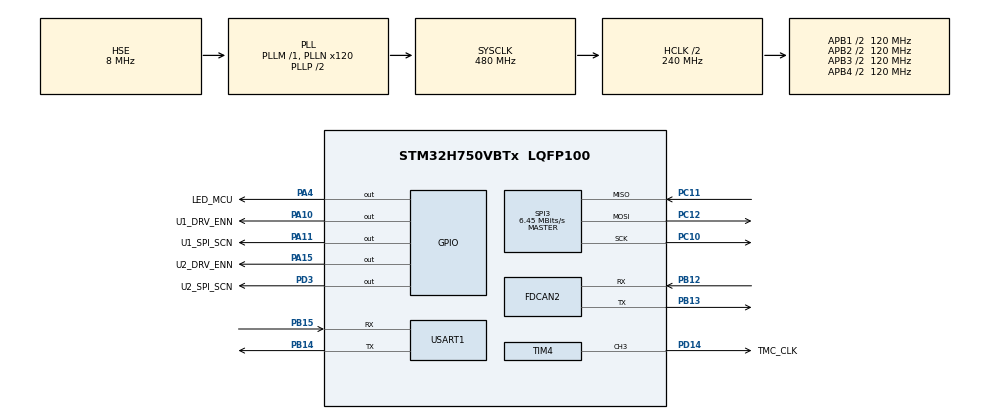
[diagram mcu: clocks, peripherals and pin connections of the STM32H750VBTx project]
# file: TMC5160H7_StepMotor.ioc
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CORTEX_M7.default_mode_Activation=1
FDCAN2.AutoRetransmission=ENABLE
FDCAN2.CalculateBaudRateNominal=500000
FDCAN2.CalculateTimeBitNominal=2000
FDCAN2.CalculateTimeQuantumNominal=125.0
FDCAN2.NominalPrescaler=1
FDCAN2.NominalTimeSeg1=13
FDCAN2.NominalTimeSeg2=2
Mcu.Family=STM32H7
Mcu.Name=STM32H750VBTx
Mcu.Package=LQFP100
NVIC.PriorityGroup=NVIC_PRIORITYGROUP_4
PA10.GPIO_Label=U1_DRV_ENN
PA10.GPIO_Speed=GPIO_SPEED_FREQ_VERY_HIGH
PA10.PinState=GPIO_PIN_SET
PA10.Signal=GPIO_Output
PA11.GPIO_Label=U1_SPI_SCN
PA11.GPIO_Speed=GPIO_SPEED_FREQ_VERY_HIGH
PA11.PinState=GPIO_PIN_SET
PA11.Signal=GPIO_Output
PA13\ (JTMS/SWDIO).Mode=Serial_Wire
PA13\ (JTMS/SWDIO).Signal=DEBUG_JTMS-SWDIO
PA14\ (JTCK/SWCLK).Mode=Serial_Wire
PA14\ (JTCK/SWCLK).Signal=DEBUG_JTCK-SWCLK
PA15\ (JTDI).GPIO_Label=U2_DRV_ENN
PA15\ (JTDI).GPIO_Speed=GPIO_SPEED_FREQ_VERY_HIGH
PA15\ (JTDI).PinState=GPIO_PIN_SET
PA15\ (JTDI).Signal=GPIO_Output
PA4.GPIO_Label=LED_MCU
PA4.PinState=GPIO_PIN_SET
PA4.Signal=GPIO_Output
PB12.Mode=FDCAN_Activate
PB12.Signal=FDCAN2_RX
PB13.Mode=FDCAN_Activate
PB13.Signal=FDCAN2_TX
PB14.Mode=Asynchronous
PB14.Signal=USART1_TX
PB15.Mode=Asynchronous
PB15.Signal=USART1_RX
PC10.GPIO_Speed=GPIO_SPEED_FREQ_VERY_HIGH
PC10.Mode=Full_Duplex_Master
PC10.Signal=SPI3_SCK
PC11.GPIO_Speed=GPIO_SPEED_FREQ_VERY_HIGH
PC11.Mode=Full_Duplex_Master
PC11.Signal=SPI3_MISO
PC12.GPIO_Speed=GPIO_SPEED_FREQ_VERY_HIGH
PC12.Mode=Full_Duplex_Master
PC12.Signal=SPI3_MOSI
PD14.GPIO_Label=TMC_CLK
PD14.GPIO_Speed=GPIO_SPEED_FREQ_VERY_HIGH
PD14.Signal=S_TIM4_CH3
PD3.GPIO_Label=U2_SPI_SCN
PD3.GPIO_Speed=GPIO_SPEED_FREQ_VERY_HIGH
PD3.PinState=GPIO_PIN_SET
PD3.Signal=GPIO_Output
PH0-OSC_IN\ (PH0).Mode=HSE-External-Oscillator
PH0-OSC_IN\ (PH0).Signal=RCC_OSC_IN
PH1-OSC_OUT\ (PH1).Mode=HSE-External-Oscillator
PH1-OSC_OUT\ (PH1).Signal=RCC_OSC_OUT
ProjectManager.HeapSize=0x200
ProjectManager.StackSize=0x400
ProjectManager.TargetToolchain=CMake
RCC.ADCFreq_Value=16125000
RCC.APB1Freq_Value=120000000
RCC.APB2Freq_Value=120000000
RCC.APB3Freq_Value=120000000
RCC.APB4Freq_Value=120000000
RCC.CortexFreq_Value=480000000
RCC.D1PPRE=RCC_APB3_DIV2
RCC.D2PPRE1=RCC_APB1_DIV2
RCC.D2PPRE2=RCC_APB2_DIV2
RCC.D3PPRE=RCC_APB4_DIV2
RCC.DIVM1=1
RCC.DIVM3=5
RCC.DIVN1=120
RCC.FDCANCLockSelection=RCC_FDCANCLKSOURCE_HSE
RCC.HCLKFreq_Value=240000000
RCC.HPRE=RCC_HCLK_DIV2
RCC.HSE_VALUE=8000000
RCC.PLL2FRACN=0
RCC.PLL3FRACN=0
RCC.PLLFRACN=0
RCC.PLLSourceVirtual=RCC_PLLSOURCE_HSE
RCC.PWR_Regulator_Voltage_Scale=PWR_REGULATOR_VOLTAGE_SCALE0
RCC.SPI123CLockSelection=RCC_SPI123CLKSOURCE_PLL3
RCC.SYSCLKFreq_VALUE=480000000
RCC.SYSCLKSource=RCC_SYSCLKSOURCE_PLLCLK
RCC.USART16CLockSelection=RCC_USART16CLKSOURCE_HSI
RCC.USBFreq_Value=480000000
SH.S_TIM4_CH3.0=TIM4_CH3,PWM Generation3 CH3
SPI3.BaudRatePrescaler=SPI_BAUDRATEPRESCALER_16
SPI3.CLKPhase=SPI_PHASE_2EDGE
SPI3.CLKPolarity=SPI_POLARITY_HIGH
SPI3.CalculateBaudRate=6.45 MBits/s
SPI3.DataSize=SPI_DATASIZE_8BIT
SPI3.Direction=SPI_DIRECTION_2LINES
SPI3.Mode=SPI_MODE_MASTER
SPI3.VirtualType=VM_MASTER
TIM4.Channel-PWM\ Generation3\ CH3=TIM_CHANNEL_3
TIM4.Period=15
TIM4.Prescaler=0
TIM4.Pulse-PWM\ Generation3\ CH3=8
USART1.VirtualMode-Asynchronous=VM_ASYNC
VP_MEMORYMAP_VS_MEMORYMAP.Mode=CurAppReg
VP_TIM4_VS_ClockSourceINT.Mode=Internal
board=custom

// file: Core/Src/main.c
/* USER CODE BEGIN Header */
/**
  ******************************************************************************
  * @file           : main.c
  * @brief          : Main program body
  ******************************************************************************
  * @attention
  *
  * Copyright (c) 2026 STMicroelectronics.
  * All rights reserved.
  *
  * This software is licensed under terms that can be found in the LICENSE file
  * in the root directory of this software component.
  * If no LICENSE file comes with this software, it is provided AS-IS.
  *
  ******************************************************************************
  */
/* USER CODE END Header */
#include "main.h"
#include "fdcan.h"
#include "spi.h"
#include "tim.h"
#include "usart.h"
#include "gpio.h"

/* USER CODE BEGIN Includes */
#include "algo/queue.h"
#include "drv/can.h"
#include "drv/uart_dbg.h"
#include "drv/rtt_dbg.h"
#include "drv/tmc5160.h"
#include "app/motor_ctrl.h"
#include "app/closed_loop.h"
#include "app/homing.h"
#include "comm_test.h"
#include "tim_test.h"
/* USER CODE END Includes */

/* USER CODE BEGIN PV */
/* 闭环节拍标志：预留（目标板无 TIM7，闭环 Tick 暂未启用，与源工程行为等价） */
volatile uint8_t g_cl_tick_flag = 0;
/* USER CODE END PV */

void SystemClock_Config(void);
void PeriphCommonClock_Config(void);
static void MPU_Config(void);

int main(void)
{

  /* MPU Configuration--------------------------------------------------------*/
  MPU_Config();

  /* MCU Configuration--------------------------------------------------------*/

  /* Reset of all peripherals, Initializes the Flash interface and the Systick. */
  HAL_Init();

  /* Configure the system clock */
  SystemClock_Config();

  /* Configure the peripherals common clocks */
  PeriphCommonClock_Config();

  /* Initialize all configured peripherals */
  MX_GPIO_Init();
  MX_FDCAN2_Init();
  MX_SPI3_Init();
  MX_TIM4_Init();
  MX_USART1_UART_Init();
  /* USER CODE BEGIN 2 */
  /* TMC5160 外部时钟: TIM4_CH3 PWM 输出 15MHz (TIM4CLK=240MHz/(PSC=0)/(ARR=15+1))
   * 必须在 TMC5160_Init 前启动，否则芯片无 fCLK 不工作 */
  HAL_TIM_PWM_Start(&htim4, TIM_CHANNEL_3);

  QUEUE_Init(&g_queue_st);
  CAN_Init();
  TMC5160_Init();
  MOTOR_Init();
  CLOSEDLOOP_Init();
  UART_DBG_Init();
  RTT_DBG_Init(); /* RTT 初始化（J-Link RTT Viewer 调试回传） */
  UART_DBG_Str("UART ready 115200\r\n");
  RTT_DBG_Str("RTT ready\r\n");
  UART_DBG_Str("[BOOT] TMC5160H7 StepMotor\r\n");
  RTT_DBG_Str("[BOOT] TMC5160H7 StepMotor\r\n");
#ifdef CL_TIMING_MEASURE
  TEST_TIM_Init();
  TEST_SPI_SaleaeTriggerInit();
  UART_DBG_Str("[SALEAE] 3-wire SCK PC10 MOSI PC12 MISO PC11 TRIG PA4\r\n");
#endif

  /* == 测试函数 == */
  /* 上电 SPI 自检：双芯 GSTAT/DRVSTATUS 回读，串口+RTT 双通道输出判据 */
  // COMM_Test_SPI();
#if SPI_SOAK
  /* SPI 位保真浸泡诊断（2026-09-10 电机排查轮，实现见 test/comm_test.c；
   * 含 U2 速度模式运转 10s，结束自动停并恢复 ENC_CONST；生产版置 0） */
  COMM_Test_SPI_Soak();
#endif
#if SPI_QUIET
  /* 静音模式(StealthChop)电机运行测试（2026-09-10 用户定案，实现见
   * test/comm_test.c；判据=转+无故障，S2 保持开启；结束恢复 GCONF=0x00） */
  COMM_Test_SPI_Quiet();
#endif
#if SPI_MANUAL
  /* 手册(ch22/ch23)基线配置+一整圈定位运转（2026-09-10 用户定案，实现见
   * test/comm_test.c；判据=|enc|≥25600 且 S2/drv_err 全 0；VS=24V+VSA=12V 实况） */
  COMM_Test_ManualRun();
#endif
#if SPI_PRODRUN
  /* 生产配置 SpreadCycle 整圈运行验证（2026-09-12 用户定案，实现见
   * test/comm_test.c；判据=到位且全程无错误标志+enc跟随；生产版置 0） */
  COMM_Test_ProdRun();
#endif
#if SPI_PRODRUN_U1
  /* U1 生产配置 SpreadCycle 整圈运行验证（2026-09-14 新增，
   * 实现见 test/comm_test.c COMM_Test_ProdRun_U1()；
   * 判据对标 PRODRUN；生产版置 0） */
  COMM_Test_ProdRun_U1();
#endif

  /* USER CODE END 2 */

  /* Infinite loop */
  /* USER CODE BEGIN WHILE */
  while (1)
  {
    /* [TM] tag2=主循环单圈(抽稀500:1,避RTT回传反压) / tag5=1Hz心跳SPI诊断块
     * 依据 probe.md DWT序列 + memory stm32_dwt_cyccnt_clk=480MHz(CPU=SYSCLK,实测481MHz 2026-09-17)
     * 回传经 printf->_write->RTT Ch0(09-18切RTT,串口不可用),生产版空宏零开销 */
#ifdef CL_TIMING_MEASURE
    static uint32_t s_tm2_cnt = 0;
    ++s_tm2_cnt;
    if ((s_tm2_cnt % 500U) == 0U)
    {
        TEST_TIM_Start(2); /* 抽稀: 每500圈测一圈, Start/Stop配对 */
    }
#else
    TEST_TIM_Start(2); /* 生产版空宏 */
#endif
#ifdef CL_TIMING_MEASURE
    /* 3-wire Saleae 连续触发: 每 10ms 一次 U2 GSTAT 读, PA4 窄脉冲作同步 */
    {
        static uint32_t s_saleae_last = 0;
        if ((HAL_GetTick() - s_saleae_last) >= 10)
        {
            s_saleae_last = HAL_GetTick();
            TEST_SPI_SaleaePulse();
            (void)TMC5160_SpiRead(TMC5160_CHIP_2, 0x01); /* GSTAT */
        }
    }
#endif
    CAN_Process();
    HOME_Tick();
    COMM_Test_CAN_Heartbeat();
    /* 双通道心跳遥测：1Hz 打印双电机实际/编码器位置 (USART1 115200 + RTT) */
    {
      static uint32_t s_rtt_last_tick = 0;
      uint32_t now = HAL_GetTick();
      if ((now - s_rtt_last_tick) >= 1000)
      {
        s_rtt_last_tick = now;
        TEST_TIM_Start(5); /* tag5=1Hz心跳SPI诊断块(含4次读事务) */
        /* U2 追加运动诊断量: v=VACTUAL(0x22) rs=RAMP_STAT cs=CS_ACTUAL[9:0]
         * ds=DRVSTATUS(OL/OT/S2 位) gs=GSTAT —— 遥测先行定位抖动 (retrieval.md) */
        {
          TMC5160_CHIP_T *u2 = MOTOR_GetChip(MOTOR_CTRL_U2);
          uint32_t ds = TMC5160_GetDrvStatus(u2);
          UART_DBG_Printf("[t=%u] U1 act=%d enc=%d | U2 act=%d enc=%d "
                          "v=%d rs=%lX cs=%lu ds=%08lX gs=%02X\r\n",
                          (unsigned)now,
                          (int)MOTOR_GetPosition(MOTOR_CTRL_U1),
                          (int)MOTOR_GetEncoderPosition(MOTOR_CTRL_U1),
                          (int)MOTOR_GetPosition(MOTOR_CTRL_U2),
                          (int)MOTOR_GetEncoderPosition(MOTOR_CTRL_U2),
                          (int)TMC5160_GetVelocity(u2),
                          (unsigned long)TMC5160_GetRampStat(u2),
                          (unsigned long)(ds & 0x3FFUL),
                          (unsigned long)ds,
                          (unsigned int)TMC5160_GetGStat(u2));
        }
        RTT_DBG_Printf("[t=%u] U1 act=%d enc=%d | U2 act=%d enc=%d\r\n",
                       (unsigned)now,
                       (int)MOTOR_GetPosition(MOTOR_CTRL_U1),
                       (int)MOTOR_GetEncoderPosition(MOTOR_CTRL_U1),
                       (int)MOTOR_GetPosition(MOTOR_CTRL_U2),
                       (int)MOTOR_GetEncoderPosition(MOTOR_CTRL_U2));
        TEST_TIM_Stop(5);
      }
    }

    /* 闭环控制：目标板无 TIM7 节拍定时器，保持注释态（与源工程行为等价） */
    // if (g_cl_tick_flag)
    // {
    //   g_cl_tick_flag = 0;
    //   CLOSEDLOOP_Tick(MOTOR_CTRL_U1);
    //   CLOSEDLOOP_Tick(MOTOR_CTRL_U2);
    // }

#ifdef CL_TIMING_MEASURE
    if ((s_tm2_cnt % 500U) == 0U)
    {
        TEST_TIM_Stop(2); /* 与顶部Start配对, 1次/500圈 */
    }
#else
    TEST_TIM_Stop(2); /* 生产版空宏 */
#endif
    /* USER CODE END WHILE */

  }
}

void SystemClock_Config(void)
{
  RCC_OscInitTypeDef RCC_OscInitStruct = {0};
  RCC_ClkInitTypeDef RCC_ClkInitStruct = {0};

  /** Supply configuration update enable
  */
  HAL_PWREx_ConfigSupply(PWR_LDO_SUPPLY);

  /** Configure the main internal regulator output voltage
  */
  __HAL_PWR_VOLTAGESCALING_CONFIG(PWR_REGULATOR_VOLTAGE_SCALE0);

  while(!__HAL_PWR_GET_FLAG(PWR_FLAG_VOSRDY)) {}

  /** Initializes the RCC Oscillators according to the specified parameters
  * in the RCC_OscInitTypeDef structure.
  */
  RCC_OscInitStruct.OscillatorType = RCC_OSCILLATORTYPE_HSI|RCC_OSCILLATORTYPE_HSE;
  RCC_OscInitStruct.HSEState = RCC_HSE_ON;
  RCC_OscInitStruct.HSIState = RCC_HSI_DIV1;
  RCC_OscInitStruct.HSICalibrationValue = RCC_HSICALIBRATION_DEFAULT;
  RCC_OscInitStruct.PLL.PLLState = RCC_PLL_ON;
  RCC_OscInitStruct.PLL.PLLSource = RCC_PLLSOURCE_HSE;
  RCC_OscInitStruct.PLL.PLLM = 1;
  RCC_OscInitStruct.PLL.PLLN = 120;
  RCC_OscInitStruct.PLL.PLLP = 2;
  RCC_OscInitStruct.PLL.PLLQ = 2;
  RCC_OscInitStruct.PLL.PLLR = 2;
  RCC_OscInitStruct.PLL.PLLRGE = RCC_PLL1VCIRANGE_3;
  RCC_OscInitStruct.PLL.PLLVCOSEL = RCC_PLL1VCOWIDE;
  RCC_OscInitStruct.PLL.PLLFRACN = 0;
  if (HAL_RCC_OscConfig(&RCC_OscInitStruct) != HAL_OK)
  {
    Error_Handler();
  }

  /** Initializes the CPU, AHB and APB buses clocks
  */
  RCC_ClkInitStruct.ClockType = RCC_CLOCKTYPE_HCLK|RCC_CLOCKTYPE_SYSCLK
                              |RCC_CLOCKTYPE_PCLK1|RCC_CLOCKTYPE_PCLK2
                              |RCC_CLOCKTYPE_D3PCLK1|RCC_CLOCKTYPE_D1PCLK1;
  RCC_ClkInitStruct.SYSCLKSource = RCC_SYSCLKSOURCE_PLLCLK;
  RCC_ClkInitStruct.SYSCLKDivider = RCC_SYSCLK_DIV1;
  RCC_ClkInitStruct.AHBCLKDivider = RCC_HCLK_DIV2;
  RCC_ClkInitStruct.APB3CLKDivider = RCC_APB3_DIV2;
  RCC_ClkInitStruct.APB1CLKDivider = RCC_APB1_DIV2;
  RCC_ClkInitStruct.APB2CLKDivider = RCC_APB2_DIV2;
  RCC_ClkInitStruct.APB4CLKDivider = RCC_APB4_DIV2;

  if (HAL_RCC_ClockConfig(&RCC_ClkInitStruct, FLASH_LATENCY_4) != HAL_OK)
  {
    Error_Handler();
  }
}

void PeriphCommonClock_Config(void)
{
  RCC_PeriphCLKInitTypeDef PeriphClkInitStruct = {0};

  /** Initializes the peripherals clock
  */
  PeriphClkInitStruct.PeriphClockSelection = RCC_PERIPHCLK_CKPER;
  PeriphClkInitStruct.CkperClockSelection = RCC_CLKPSOURCE_HSI;
  if (HAL_RCCEx_PeriphCLKConfig(&PeriphClkInitStruct) != HAL_OK)
  {
    Error_Handler();
  }
}

 /* MPU Configuration */

void MPU_Config(void)
{
  MPU_Region_InitTypeDef MPU_InitStruct = {0};

  /* Disables the MPU */
  HAL_MPU_Disable();

  /** Initializes and configures the Region and the memory to be protected
  */
  MPU_InitStruct.Enable = MPU_REGION_ENABLE;
  MPU_InitStruct.Number = MPU_REGION_NUMBER0;
  MPU_InitStruct.BaseAddress = 0x0;
  MPU_InitStruct.Size = MPU_REGION_SIZE_4GB;
  MPU_InitStruct.SubRegionDisable = 0x87;
  MPU_InitStruct.TypeExtField = MPU_TEX_LEVEL0;
  MPU_InitStruct.AccessPermission = MPU_REGION_NO_ACCESS;
  MPU_InitStruct.DisableExec = MPU_INSTRUCTION_ACCESS_DISABLE;
  MPU_InitStruct.IsShareable = MPU_ACCESS_SHAREABLE;
  MPU_InitStruct.IsCacheable = MPU_ACCESS_NOT_CACHEABLE;
  MPU_InitStruct.IsBufferable = MPU_ACCESS_NOT_BUFFERABLE;

  HAL_MPU_ConfigRegion(&MPU_InitStruct);
  /* Enables the MPU */
  HAL_MPU_Enable(MPU_PRIVILEGED_DEFAULT);

}

void Error_Handler(void)
{
  __disable_irq();
  while (1)
  {
  }
}
